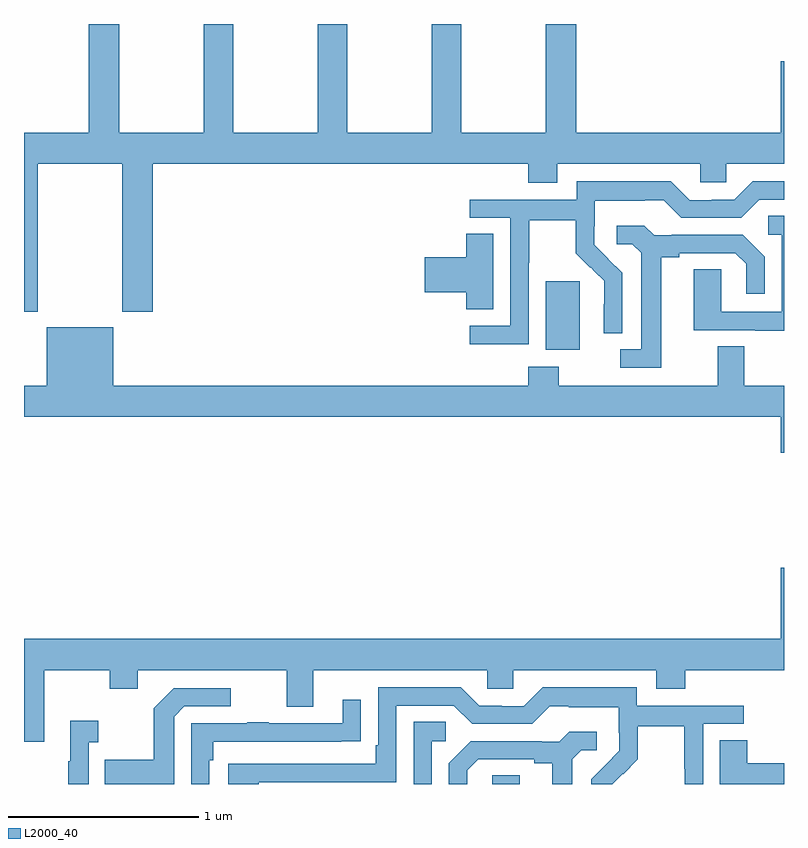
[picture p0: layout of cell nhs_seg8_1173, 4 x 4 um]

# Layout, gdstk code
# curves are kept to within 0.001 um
import gdstk
lib = gdstk.Library(unit=1e-6, precision=1e-09)
def R(c, l, rs):  # rectangles x0, y0, x1, y1
    for r in rs: c.add(gdstk.rectangle(r[:2], r[2:], *l))
def P(c, l, *ps):  # polygons
    for p in ps: c.add(gdstk.Polygon(p, *l))
L2000_40 = (2000, 40)

nhs_seg8_1173 = lib.new_cell('nhs_seg8_1173')
R(nhs_seg8_1173, L2000_40, [(187.464,1115.9,187.609,1115.945), (187.745,1118.186,187.924,1118.547)])
P(nhs_seg8_1173, L2000_40, [(185.073,1119.164),(185.518,1119.164),(185.518,1118.385),(185.678,1118.385),(185.678,1119.164),(187.655,1119.164),(187.655,1119.065),(187.807,1119.065),(187.807,1119.164),(188.559,1119.164),(188.559,1119.066),(188.697,1119.066),(188.697,1119.164),(189,1119.164),(189,1119.703),(188.984,1119.703),(188.984,1119.328),(187.907,1119.328),(187.907,1119.9),(187.747,1119.9),(187.747,1119.328),(187.302,1119.328),(187.302,1119.9),(187.147,1119.9),(187.147,1119.328),(186.702,1119.328),(186.702,1119.9),(186.547,1119.9),(186.547,1119.328),(186.102,1119.328),(186.102,1119.9),(185.947,1119.9),(185.947,1119.328),(185.502,1119.328),(185.502,1119.9),(185.342,1119.9),(185.342,1119.328),(185,1119.328),(185,1118.385),(185.073,1118.385)],
  [(187.656,1118.644),(187.659,1118.644),(187.659,1118.868),(187.903,1118.868),(187.903,1118.693),(187.98,1118.616),(187.983,1118.619),(188.054,1118.549),(188.054,1118.426),(188.052,1118.426),(188.052,1118.272),(188.148,1118.272),(188.148,1118.59),(188.002,1118.738),(188.002,1118.835),(188.004,1118.835),(188.004,1118.969),(188.267,1118.969),(188.267,1118.973),(188.367,1118.973),(188.46,1118.88),(188.775,1118.88),(188.871,1118.976),(189,1118.976),(189,1119.072),(188.835,1119.072),(188.739,1118.976),(188.621,1118.976),(188.621,1118.973),(188.505,1118.973),(188.405,1119.073),(187.908,1119.073),(187.908,1118.976),(187.347,1118.976),(187.347,1118.88),(187.56,1118.88),(187.56,1118.313),(187.347,1118.313),(187.347,1118.215),(187.656,1118.215)],
  [(189,1118.891),(188.916,1118.891),(188.916,1118.79),(188.988,1118.79),(188.988,1118.385),(188.67,1118.385),(188.67,1118.609),(188.525,1118.609),(188.525,1118.289),(188.849,1118.289),(188.849,1118.285),(189,1118.285)],
  [(188.353,1118.672),(188.449,1118.672),(188.449,1118.694),(188.744,1118.694),(188.801,1118.637),(188.801,1118.481),(188.898,1118.481),(188.898,1118.674),(188.782,1118.79),(188.41,1118.79),(188.41,1118.787),(188.316,1118.787),(188.264,1118.839),(188.121,1118.839),(188.121,1118.742),(188.202,1118.742),(188.249,1118.695),(188.249,1118.187),(188.139,1118.187),(188.139,1118.091),(188.353,1118.091)],
  [(187.471,1118.795),(187.328,1118.795),(187.328,1118.672),(187.11,1118.672),(187.11,1118.489),(187.328,1118.489),(187.328,1118.398),(187.471,1118.398)],
  [(189,1117.996),(188.791,1117.996),(188.791,1118.204),(188.651,1118.204),(188.651,1117.996),(187.815,1117.996),(187.815,1118.095),(187.655,1118.095),(187.655,1117.996),(185.47,1117.996),(185.47,1118.305),(185.12,1118.305),(185.12,1117.996),(185,1117.996),(185,1117.832),(188.984,1117.832),(188.984,1117.644),(189,1117.644)],
  [(185.107,1116.5),(185.452,1116.5),(185.452,1116.401),(185.599,1116.401),(185.599,1116.5),(186.383,1116.5),(186.383,1116.306),(186.523,1116.306),(186.523,1116.5),(187.437,1116.5),(187.437,1116.402),(187.575,1116.402),(187.575,1116.5),(188.327,1116.5),(188.327,1116.401),(188.48,1116.401),(188.48,1116.5),(189,1116.5),(189,1117.039),(188.984,1117.039),(188.984,1116.664),(185,1116.664),(185,1116.123),(185.107,1116.123)],
  [(186.236,1115.91),(186.96,1115.91),(186.96,1116.312),(187.263,1116.312),(187.359,1116.216),(187.674,1116.216),(187.767,1116.309),(187.867,1116.309),(187.867,1116.305),(188.13,1116.305),(188.13,1116.171),(188.132,1116.171),(188.132,1116.074),(187.986,1115.926),(187.986,1115.9),(188.096,1115.9),(188.151,1115.955),(188.154,1115.952),(188.231,1116.029),(188.231,1116.204),(188.476,1116.204),(188.476,1115.98),(188.478,1115.98),(188.478,1115.9),(188.574,1115.9),(188.574,1116.216),(188.788,1116.216),(188.788,1116.312),(188.226,1116.312),(188.226,1116.409),(187.729,1116.409),(187.629,1116.309),(187.514,1116.309),(187.514,1116.312),(187.395,1116.312),(187.299,1116.408),(186.864,1116.408),(186.864,1116.103),(186.851,1116.103),(186.851,1116.006),(186.075,1116.006),(186.075,1115.9),(186.236,1115.9)],
  [(185.79,1116.255),(185.844,1116.309),(186.088,1116.309),(186.088,1116.405),(185.787,1116.405),(185.682,1116.299),(185.682,1116.027),(185.425,1116.027),(185.425,1115.9),(185.79,1115.9)],
  [(185.976,1116.026),(185.996,1116.026),(185.996,1116.123),(186.671,1116.123),(186.671,1116.124),(186.773,1116.124),(186.773,1116.343),(186.677,1116.343),(186.677,1116.219),(186.287,1116.219),(186.287,1116.224),(186.175,1116.224),(186.175,1116.219),(185.88,1116.219),(185.88,1115.9),(185.976,1115.9)],
  [(185.34,1116.119),(185.392,1116.119),(185.392,1116.232),(185.243,1116.232),(185.243,1116.019),(185.232,1116.019),(185.232,1115.9),(185.34,1115.9)],
  [(187.146,1116.126),(187.219,1116.126),(187.219,1116.227),(187.05,1116.227),(187.05,1115.9),(187.146,1115.9)],
  [(187.333,1115.973),(187.39,1116.03),(187.685,1116.03),(187.685,1116.008),(187.781,1116.008),(187.781,1115.9),(187.885,1115.9),(187.885,1116.031),(187.932,1116.078),(188.014,1116.078),(188.014,1116.175),(187.87,1116.175),(187.818,1116.123),(187.724,1116.123),(187.724,1116.126),(187.352,1116.126),(187.236,1116.01),(187.236,1115.9),(187.333,1115.9)],
  [(189,1116.008),(188.807,1116.008),(188.807,1116.131),(188.663,1116.131),(188.663,1115.9),(189,1115.9)])

lib.write_gds('nhs_seg8_1173.gds')
